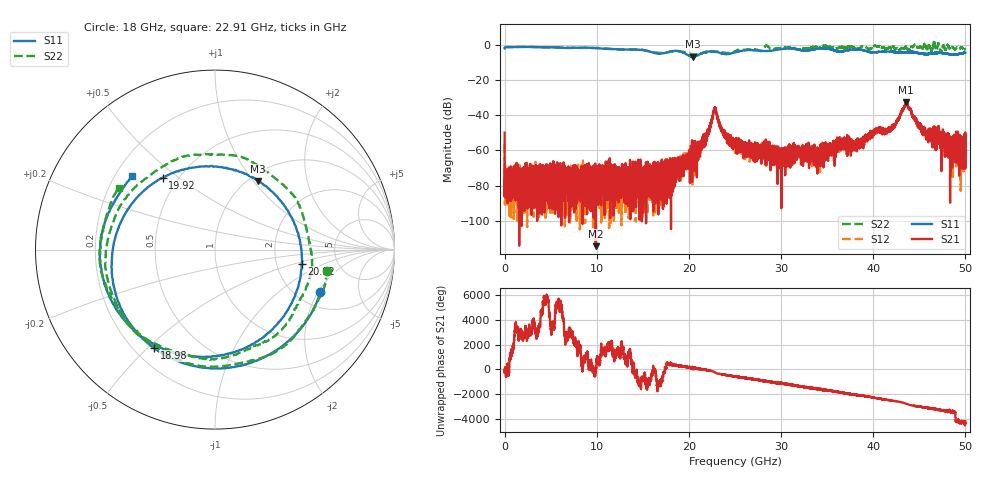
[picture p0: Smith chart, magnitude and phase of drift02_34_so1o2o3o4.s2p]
!Created with skrf (http://scikit-rf.org).
# Hz S RI R 50.0
!freq ReS11 ImS11 ReS21 ImS21 ReS12 ImS12 ReS22 ImS22
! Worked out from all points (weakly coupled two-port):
!   10001 points, 300 kHz to 50 GHz, reference 50 ohm
!   highest |S21| = -32.78 dB at 43.56 GHz (marker M1); lowest = -114.3 dB at 9.895 GHz (marker M2)
!   lowest |S11| = -6.9 dB at 20.41 GHz (marker M3), VSWR 2.64, Z = 55.3 + j52.8 ohm
!   |S11| at or under -10 dB: nowhere
!   |S22| runs from -5.7 to 2.3 dB; largest |S21 - S12| = 0.0045
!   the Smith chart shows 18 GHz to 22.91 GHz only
!   S11 on the Smith chart (normalised r, x): 18 GHz: 2.63, -2.09; 18.98 GHz: 0.28, -0.52; 19.92 GHz: 0.41, +0.44; 20.92 GHz: 2.79, -0.58; 22.91 GHz: 0.27, +0.36
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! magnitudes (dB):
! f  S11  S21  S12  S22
! 300 kHz  -2.1  -50.0  -56.4  -2.1
! 300.3 MHz  -1.4  -81.3  -75.1  -1.4
! 8.335 GHz  -1.7  -83.8  -68.4  -1.9
! 9.895 GHz  -2.1  -114.3  -83.0  -2.0
! 16.67 GHz  -5.2  -71.1  -87.7  -4.7
! 18 GHz  -4.0  -76.6  -70.2  -3.9
! 18.98 GHz  -3.8  -67.2  -67.9  -3.9
! 19.92 GHz  -6.1  -65.0  -64.6  -5.2
! 20.41 GHz  -6.9  -64.6  -57.0  -5.4
! 20.92 GHz  -6.2  -62.4  -58.4  -5.6
! 22.91 GHz  -4.2  -37.0  -36.8  -3.9
! 23.73 GHz  -5.3  -49.7  -50.0  -4.6
! 25 GHz  -4.5  -57.0  -60.6  -3.9
! 29.58 GHz  -3.0  -60.8  -62.2  -2.0
! 33.34 GHz  -3.0  -58.0  -59.7  -1.6
! 38.06 GHz  -2.8  -57.9  -58.8  -2.1
! 40.41 GHz  -4.3  -48.2  -49.5  -1.0
! 41.67 GHz  -4.0  -48.8  -48.8  -1.9
! 43.56 GHz  -4.5  -32.8  -33.4  -1.3
! 45.59 GHz  -5.4  -48.9  -48.2  0.3
! 48.5 GHz  -5.6  -54.4  -53.6  -1.5
! 50 GHz  -4.7  -56.2  -62.5  -2.6
